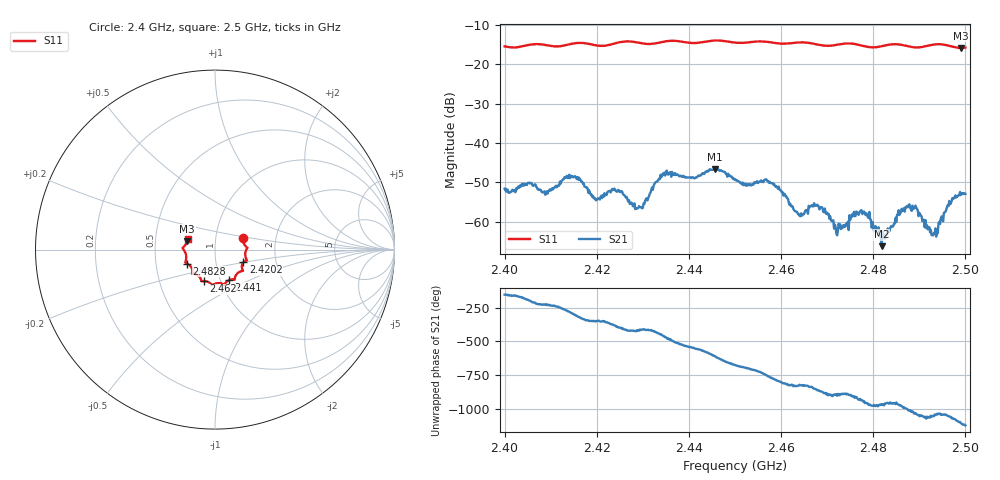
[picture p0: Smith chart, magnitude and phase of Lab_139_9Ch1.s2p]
# Hz S RI R 50
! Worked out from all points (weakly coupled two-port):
!   601 points, 2.4 GHz to 2.5 GHz, reference 50 ohm
!   highest |S21| = -46.55 dB at 2.4457 GHz (marker M1); lowest = -66.2 dB at 2.4818 GHz (marker M2)
!   lowest |S11| = -15.8 dB at 2.499 GHz (marker M3), VSWR 1.39, Z = 36.5 + j3.48 ohm
!   |S11| at or under -10 dB: start of sweep to end of sweep
!   S12 and S22 are empty: the file has one direction only
!   S11 on the Smith chart (normalised r, x): 2.4 GHz: 1.36, +0.18; 2.4202 GHz: 1.36, -0.20; 2.441 GHz: 1.10, -0.39; 2.462 GHz: 0.84, -0.30; 2.4828 GHz: 0.72, -0.12; 2.5 GHz: 0.73, +0.09
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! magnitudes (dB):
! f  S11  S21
! 2.4 GHz  -15.4  -51.6
! 2.4167 GHz  -14.5  -49.8
! 2.4202 GHz  -15.2  -54.1
! 2.4238 GHz  -14.7  -51.6
! 2.4295 GHz  -14.6  -56.3
! 2.4333 GHz  -14.5  -49.4
! 2.441 GHz  -14.6  -48.8
! 2.4457 GHz  -13.9  -46.5
! 2.45 GHz  -14.5  -49.2
! 2.457 GHz  -14.3  -49.6
! 2.462 GHz  -14.6  -55.4
! 2.4642 GHz  -14.4  -58.6
! 2.4667 GHz  -14.6  -55.8
! 2.472 GHz  -15.0  -63.0
! 2.4777 GHz  -15.2  -58.1
! 2.4818 GHz  -15.4  -66.2
! 2.4828 GHz  -15.1  -63.2
! 2.4833 GHz  -15.0  -62.6
! 2.4875 GHz  -15.4  -56.3
! 2.4932 GHz  -14.9  -62.8
! 2.499 GHz  -15.8  -53.2
! 2.5 GHz  -15.7  -52.9
